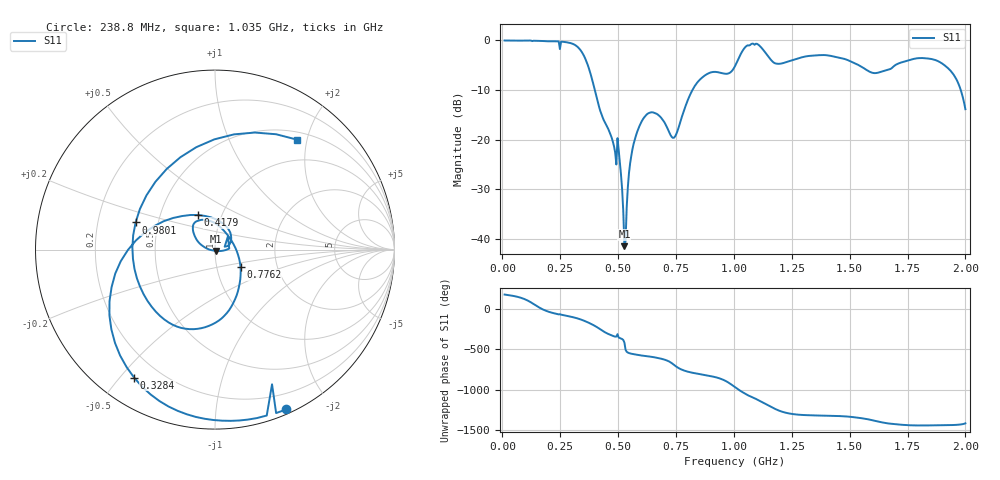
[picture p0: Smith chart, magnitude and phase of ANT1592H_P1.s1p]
!Created with skrf (http://scikit-rf.org).
# Hz S RI R 50.0
!freq ReS11 ImS11
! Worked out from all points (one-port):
!   401 points, 10 MHz to 2 GHz, reference 50 ohm
!   lowest |S11| = -41.4 dB at 527.4 MHz (marker M1), VSWR 1.02, Z = 50.4 - j0.728 ohm
!   |S11| at or under -10 dB: 399.4 MHz to 821.3 MHz (421.9 MHz wide, 69.1 % of centre); 1.98 GHz to end of sweep
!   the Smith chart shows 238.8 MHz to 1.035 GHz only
!   S11 on the Smith chart (normalised r, x): 238.8 MHz: 0.04, -1.54; 328.4 MHz: 0.11, -0.55; 417.9 MHz: 0.77, +0.31; 776.1 MHz: 1.30, -0.26; 980.1 MHz: 0.37, +0.14; 1.035 GHz: 0.62, +1.83
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1e7  -0.9925 0.0704
7.4675e7  -0.7686 0.6268
1.1945e8  0.0567 0.9923
1.64225e8  0.9761 0.1379
1.9905e8  0.7921 -0.5711
2.3885e8  0.3976 -0.8906
2.5875e8  0.2339 -0.9386
3.284e8  -0.4512 -0.7126
3.63225e8  -0.5761 -0.2089
4.1795e8  -0.0936 0.1928
5.075e8  0.0594 -0.00243
5.274e8  0.00448 -0.00721
5.62225e8  -0.0762 0.0261
6.07e8  -0.122 0.1039
7.5625e8  0.1216 -0.00918
7.7615e8  0.1422 -0.0958
9.00525e8  -0.1878 -0.4365
9.80125e8  -0.4423 0.1513
1.005e9  -0.193 0.5144
1.03485e9  0.4567 0.6126
1.07465e9  0.9074 -0.1183
1.1244e9  0.1756 -0.7952
1.17415e9  -0.5287 -0.2688
1.25375e9  -0.4701 0.4209
1.5025e9  -0.1491 0.5965
1.75125e9  0.6249 0.00493
1.91045e9  0.5597 0.00347
2e9  0.1866 0.0794
